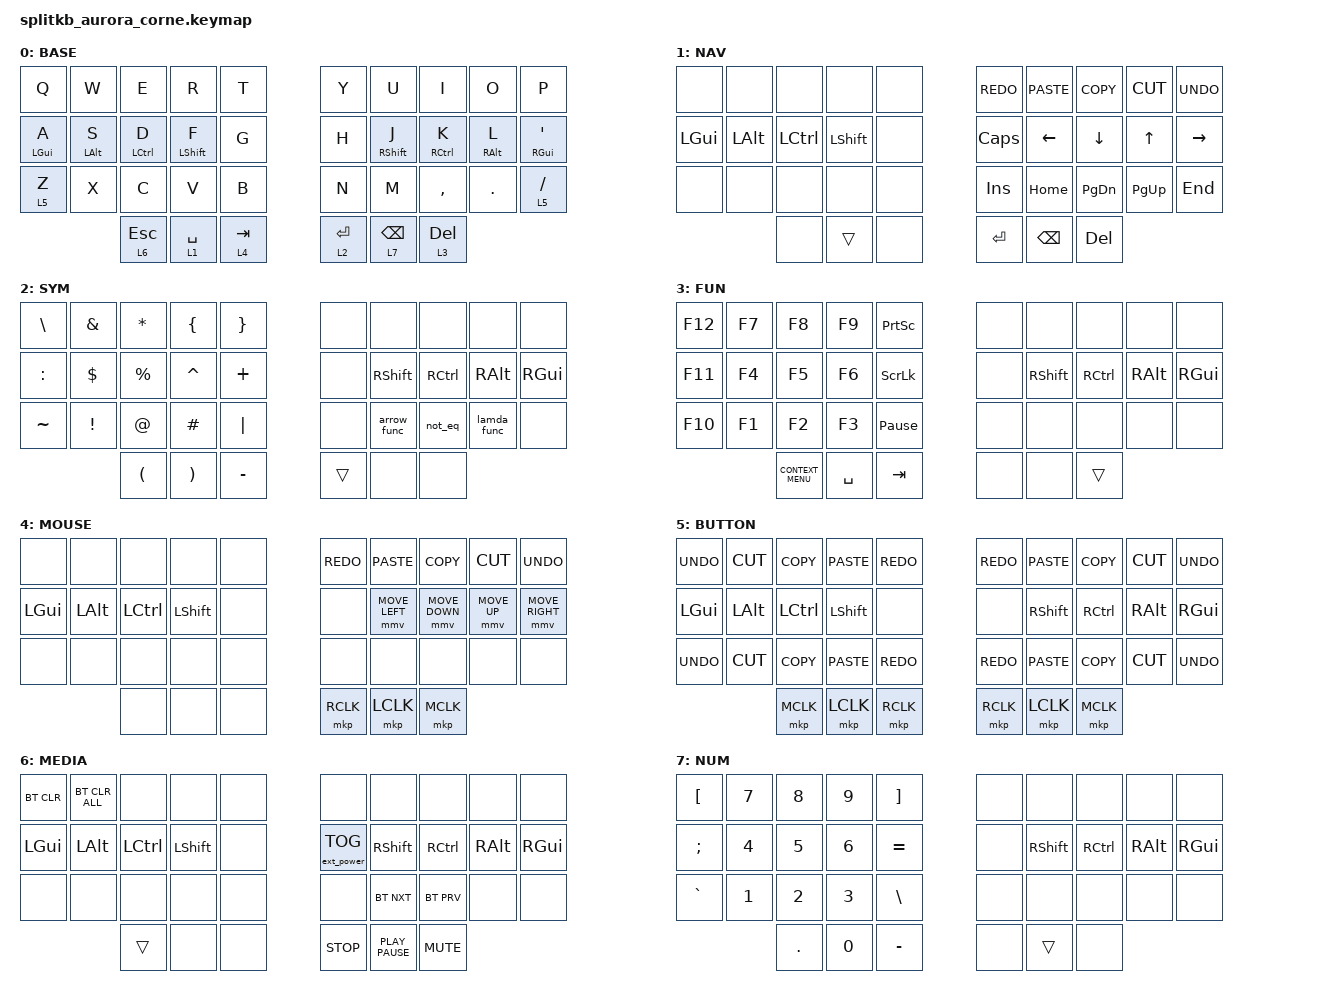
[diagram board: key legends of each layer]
/*
 * Copyright (c) 2020 The ZMK Contributors
 *
 * SPDX-License-Identifier: MIT
 */

#include <dt-bindings/zmk/mouse.h>
#include <behaviors.dtsi>
#include <dt-bindings/zmk/bt.h>
#include <dt-bindings/zmk/ext_power.h>
#include <dt-bindings/zmk/keys.h>
#include <dt-bindings/zmk/pointing.h>

/ {
    behaviors {
        hm: homerow_mods {
            compatible = "zmk,behavior-hold-tap";
            label = "HOMEROW_MODS";
            #binding-cells = <2>;
            tapping-term-ms = <200>;
            quick-tap-ms = <175>;
            flavor = "tap-preferred";
            bindings = <&kp>, <&kp>;

            require-prior-idle-ms = <125>;
        };
    };

    combos { compatible = "zmk,combos"; };

    macros {
        arrow_func: arrow_func {
            compatible = "zmk,behavior-macro";
            #binding-cells = <0>;
            bindings = <&kp SPACE &kp EQUAL &kp GT &kp SPACE>;
            label = "ARROW_FUNC";
        };

        not_eq: not_eq {
            compatible = "zmk,behavior-macro";
            #binding-cells = <0>;
            bindings = <&kp SPACE &kp EXCL &kp EQUAL &kp SPACE>;
            label = "NOT_EQ";
        };

        lamda_func: lamda_func {
            compatible = "zmk,behavior-macro";
            #binding-cells = <0>;
            bindings = <&kp SPACE &kp MINUS &kp GT &kp SPACE>;
            label = "LAMDA_FUNC";
        };
    };

    keymap {
        compatible = "zmk,keymap";

        BASE {
            bindings = <
&kp Q           &kp W           &kp E           &kp R           &kp T       &kp Y      &kp U            &kp I           &kp O       &kp P
&hm LGUI A      &hm LALT S      &hm LCTRL D     &hm LSHFT F     &kp G       &kp H      &hm RSHFT J      &hm RCTRL K     &hm RALT L  &hm RGUI SINGLE_QUOTE  
&lt 5 Z         &kp X           &kp C           &kp V           &kp B       &kp N      &kp M            &kp COMMA       &kp DOT     &lt 5 SLASH    
                                &lt 6 ESC       &lt 1 SPACE     &lt 4 TAB   &lt 2 RET  &lt 7 BACKSPACE  &lt 3 DELETE
            >;
        };

        NAV {
            bindings = <
&none       &none       &none       &none       &none   &kp K_REDO      &kp K_PASTE     &kp K_COPY      &kp K_CUT       &kp K_UNDO  
&kp LGUI    &kp LALT    &kp LCTRL   &kp LSHIFT  &none   &kp CAPSLOCK    &kp LEFT        &kp DOWN        &kp UP          &kp RIGHT
&none       &none       &none       &none       &none   &kp INSERT      &kp HOME        &kp PAGE_DOWN   &kp PAGE_UP     &kp END         
                        &none       &trans      &none   &kp RET         &kp BACKSPACE   &kp DEL
            >;
        };

        SYM {
            bindings = <
&kp BSLH    &kp AMPS    &kp ASTRK       &kp LBRC    &kp RBRC    &none      &none           &none       &none           &none     
&kp COLON   &kp DOLLAR  &kp PERCENT     &kp CARET   &kp PLUS    &none      &kp RSHIFT      &kp RCTRL   &kp RALT        &kp RGUI
&kp TILDE   &kp EXCL    &kp AT          &kp HASH    &kp PIPE    &none      &arrow_func     &not_eq     &lamda_func     &none        
                        &kp LPAR        &kp RPAR    &kp MINUS   &trans     &none           &none
            >;
        };

        FUN {
            bindings = <
&kp F12     &kp F7  &kp F8              &kp F9      &kp PRINTSCREEN     &none   &none       &none       &none       &none   
&kp F11     &kp F4  &kp F5              &kp F6      &kp SCROLLLOCK      &none   &kp RSHIFT  &kp RCTRL   &kp RALT    &kp RGUI
&kp F10     &kp F1  &kp F2              &kp F3      &kp PAUSE_BREAK     &none   &none       &none       &none       &none        
                    &kp K_CONTEXT_MENU  &kp SPACE   &kp TAB             &none   &none       &trans
            >;
        };

        MOUSE {
            bindings = <
&none       &none           &none       &none       &none      &kp K_REDO  &kp K_PASTE     &kp K_COPY      &kp K_CUT       &kp K_UNDO  
&kp LGUI    &kp LEFT_ALT    &kp LCTRL   &kp LSHIFT  &none      &none       &mmv MOVE_LEFT  &mmv MOVE_DOWN  &mmv MOVE_UP    &mmv MOVE_RIGHT  
&none       &none           &none       &none       &none      &none       &none           &none           &none           &none
                            &none       &none       &none      &mkp RCLK   &mkp LCLK       &mkp MCLK
            >;
        };

        BUTTON {
            bindings = <
&kp K_UNDO  &kp K_CUT       &kp K_COPY  &kp K_PASTE &kp K_REDO      &kp K_REDO  &kp K_PASTE &kp K_COPY  &kp K_CUT   &kp K_UNDO  
&kp LGUI    &kp LEFT_ALT    &kp LCTRL   &kp LSHIFT  &none           &none       &kp RSHIFT  &kp RCTRL   &kp RALT    &kp RGUI
&kp K_UNDO  &kp K_CUT       &kp K_COPY  &kp K_PASTE &kp K_REDO      &kp K_REDO  &kp K_PASTE &kp K_COPY  &kp K_CUT   &kp K_UNDO
                            &mkp MCLK   &mkp LCLK   &mkp RCLK       &mkp RCLK   &mkp LCLK   &mkp MCLK
            >;
        };

        MEDIA {
            bindings = <
&bt BT_CLR  &bt BT_CLR_ALL  &none       &none       &none       &none               &none               &none       &none       &none
&kp LGUI    &kp LEFT_ALT    &kp LCTRL   &kp LSHIFT  &none       &ext_power EP_TOG   &kp RSHIFT          &kp RCTRL   &kp RALT    &kp RGUI  
&none       &none           &none       &none       &none       &none               &bt BT_NXT          &bt BT_PRV  &none       &none
                            &trans      &none       &none       &kp K_STOP          &kp K_PLAY_PAUSE    &kp K_MUTE
            >;
        };

        NUM {
            bindings = <
&kp LEFT_BRACKET    &kp N7          &kp N8          &kp N9          &kp RIGHT_BRACKET       &none   &none       &none       &none       &none         
&kp SEMI            &kp NUMBER_4    &kp N5          &kp NUMBER_6    &kp EQUAL               &none   &kp RSHIFT  &kp RCTRL   &kp RALT    &kp RGUI
&kp GRAVE           &kp NUMBER_1    &kp NUMBER_2    &kp NUMBER_3    &kp BACKSLASH           &none   &none       &none       &none       &none
                                    &kp DOT         &kp N0          &kp MINUS               &none   &trans      &none
            >;
        };
    };

    conditional_layers { compatible = "zmk,conditional-layers"; };
};
